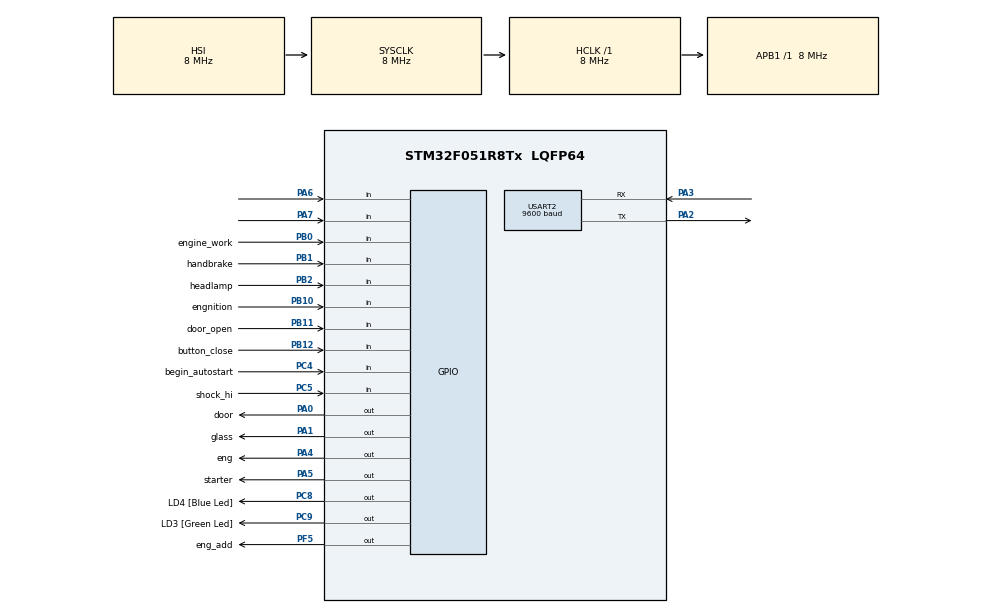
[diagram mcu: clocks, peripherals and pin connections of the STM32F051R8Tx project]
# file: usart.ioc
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FREERTOS.CountingSemaphores01=toTick,4,Dynamic,NULL
FREERTOS.INCLUDE_vTaskDelayUntil=1
FREERTOS.Queues01=toAlarm,4,uint8_t,NULL,Dynamic,NULL,NULL;toMain,1,uint32_t,NULL,Dynamic,NULL,NULL;toSensors,1,uint16_t,NULL,Dynamic,NULL,NULL;toSMS,4,uint16_t,NULL,Dynamic,NULL,NULL
FREERTOS.Tasks01=Main,0,128,Task_Main,Default,NULL,Dynamic,NULL,NULL;Sensors,1,128,Task_Sensors,Default,NULL,Dynamic,NULL,NULL;SMS,2,128,Task_SMS,Default,NULL,Dynamic,NULL,NULL;Admin,-1,128,Task_Admin,Default,NULL,Dynamic,NULL,NULL;pick,-3,128,Task_pick,Default,NULL,Dynamic,NULL,NULL
FREERTOS.configTOTAL_HEAP_SIZE=6000
FREERTOS.configUSE_COUNTING_SEMAPHORES=1
FREERTOS.configUSE_TICKLESS_IDLE=1
Mcu.Family=STM32F0
Mcu.Name=STM32F051R8Tx
Mcu.Package=LQFP64
NVIC.TIM17_IRQn=true\:0\:0\:false\:false\:true\:false\:false
NVIC.TimeBase=TIM17_IRQn
NVIC.TimeBaseIP=TIM17
NVIC.USART2_IRQn=true\:3\:0\:false\:false\:true\:true\:true
PA0.GPIO_Label=door
PA0.GPIO_ModeDefaultOutputPP=GPIO_MODE_OUTPUT_OD
PA0.GPIO_PuPd=GPIO_PULLUP
PA0.Signal=GPIO_Output
PA1.GPIO_Label=glass
PA1.GPIO_ModeDefaultOutputPP=GPIO_MODE_OUTPUT_OD
PA1.GPIO_PuPd=GPIO_PULLUP
PA1.Signal=GPIO_Output
PA13.GPIO_Label=SWDIO
PA13.Signal=SYS_SWDIO
PA14.GPIO_Label=SWCLK
PA14.Signal=SYS_SWCLK
PA2.Mode=Asynchronous
PA2.Signal=USART2_TX
PA3.Mode=Asynchronous
PA3.Signal=USART2_RX
PA4.GPIO_Label=eng
PA4.GPIO_ModeDefaultOutputPP=GPIO_MODE_OUTPUT_OD
PA4.GPIO_PuPd=GPIO_PULLUP
PA4.Signal=GPIO_Output
PA5.GPIO_Label=starter
PA5.GPIO_ModeDefaultOutputPP=GPIO_MODE_OUTPUT_OD
PA5.GPIO_PuPd=GPIO_PULLUP
PA5.Signal=GPIO_Output
PA6.Signal=GPIO_Input
PA7.Signal=GPIO_Input
PB0.GPIO_Label=engine_work
PB0.GPIO_PuPd=GPIO_PULLDOWN
PB0.Signal=GPIO_Input
PB1.GPIO_Label=handbrake
PB1.GPIO_PuPd=GPIO_PULLDOWN
PB1.Signal=GPIO_Input
PB10.GPIO_Label=engnition
PB10.GPIO_PuPd=GPIO_PULLDOWN
PB10.Signal=GPIO_Input
PB11.GPIO_Label=door_open
PB11.GPIO_PuPd=GPIO_PULLDOWN
PB11.Signal=GPIO_Input
PB12.GPIO_Label=button_close
PB12.GPIO_PuPd=GPIO_PULLDOWN
PB12.Signal=GPIO_Input
PB2.GPIO_Label=headlamp
PB2.GPIO_PuPd=GPIO_PULLDOWN
PB2.Signal=GPIO_Input
PC4.GPIO_Label=begin_autostart
PC4.GPIO_PuPd=GPIO_PULLDOWN
PC4.Signal=GPIO_Input
PC5.GPIO_Label=shock_hi
PC5.GPIO_PuPd=GPIO_PULLDOWN
PC5.Signal=GPIO_Input
PC8.GPIO_Label=LD4 [Blue Led]
PC8.GPIO_PuPd=GPIO_NOPULL
PC8.GPIO_Speed=GPIO_SPEED_FREQ_LOW
PC8.Signal=GPIO_Output
PC9.GPIO_Label=LD3 [Green Led]
PC9.GPIO_PuPd=GPIO_NOPULL
PC9.GPIO_Speed=GPIO_SPEED_FREQ_LOW
PC9.PinState=GPIO_PIN_RESET
PC9.Signal=GPIO_Output
PF5.GPIO_Label=eng_add
PF5.GPIO_ModeDefaultOutputPP=GPIO_MODE_OUTPUT_OD
PF5.GPIO_PuPd=GPIO_PULLUP
PF5.Signal=GPIO_Output
ProjectManager.HeapSize=0x200
ProjectManager.StackSize=0x400
ProjectManager.TargetToolchain=MDK-ARM V5
RCC.AHBFreq_Value=8000000
RCC.APB1Freq_Value=8000000
RCC.APB1TimFreq_Value=8000000
RCC.HCLKFreq_Value=8000000
RCC.PLLMUL=RCC_PLL_MUL4
RCC.RCC_MCOSource=RCC_MCO1SOURCE_LSI
RCC.SYSCLKFreq_VALUE=8000000
USART2.BaudRate=9600
USART2.VirtualMode-Asynchronous=VM_ASYNC
VP_FREERTOS_VS_ENABLE.Mode=Enabled
VP_SYS_VS_tim17.Mode=TIM17
board=STM32F0DISCOVERY

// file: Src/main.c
/**
  ******************************************************************************
  * File Name          : main.c
  * Description        : Main program body
  ******************************************************************************
  * This notice applies to any and all portions of this file
  * that are not between comment pairs USER CODE BEGIN and
  * USER CODE END. Other portions of this file, whether
  * inserted by the user or by software development tools
  * are owned by their respective copyright owners.
  *
  * Copyright (c) 2018 STMicroelectronics International N.V.
  * All rights reserved.
  *
  * Redistribution and use in source and binary forms, with or without
  * modification, are permitted, provided that the following conditions are met:
  *
  * 1. Redistribution of source code must retain the above copyright notice,
  *    this list of conditions and the following disclaimer.
  * 2. Redistributions in binary form must reproduce the above copyright notice,
  *    this list of conditions and the following disclaimer in the documentation
  *    and/or other materials provided with the distribution.
  * 3. Neither the name of STMicroelectronics nor the names of other
  *    contributors to this software may be used to endorse or promote products
  *    derived from this software without specific written permission.
  * 4. This software, including modifications and/or derivative works of this
  *    software, must execute solely and exclusively on microcontroller or
  *    microprocessor devices manufactured by or for STMicroelectronics.
  * 5. Redistribution and use of this software other than as permitted under
  *    this license is void and will automatically terminate your rights under
  *    this license.
  *
  * THIS SOFTWARE IS PROVIDED BY STMICROELECTRONICS AND CONTRIBUTORS "AS IS"
  * AND ANY EXPRESS, IMPLIED OR STATUTORY WARRANTIES, INCLUDING, BUT NOT
  * LIMITED TO, THE IMPLIED WARRANTIES OF MERCHANTABILITY, FITNESS FOR A
  * PARTICULAR PURPOSE AND NON-INFRINGEMENT OF THIRD PARTY INTELLECTUAL PROPERTY
  * RIGHTS ARE DISCLAIMED TO THE FULLEST EXTENT PERMITTED BY LAW. IN NO EVENT
  * SHALL STMICROELECTRONICS OR CONTRIBUTORS BE LIABLE FOR ANY DIRECT, INDIRECT,
  * INCIDENTAL, SPECIAL, EXEMPLARY, OR CONSEQUENTIAL DAMAGES (INCLUDING, BUT NOT
  * LIMITED TO, PROCUREMENT OF SUBSTITUTE GOODS OR SERVICES; LOSS OF USE, DATA,
  * OR PROFITS; OR BUSINESS INTERRUPTION) HOWEVER CAUSED AND ON ANY THEORY OF
  * LIABILITY, WHETHER IN CONTRACT, STRICT LIABILITY, OR TORT (INCLUDING
  * NEGLIGENCE OR OTHERWISE) ARISING IN ANY WAY OUT OF THE USE OF THIS SOFTWARE,
  * EVEN IF ADVISED OF THE POSSIBILITY OF SUCH DAMAGE.
  *
  ******************************************************************************
  */

#include "main.h"
#include "stm32f0xx_hal.h"
#include "cmsis_os.h"

/* USER CODE BEGIN Includes */
#include "sms.h"
/* USER CODE END Includes */

UART_HandleTypeDef huart2;

osThreadId MainHandle;
osThreadId SensorsHandle;
osThreadId SMSHandle;
osThreadId AdminHandle;
osThreadId pickHandle;
osMessageQId toAlarmHandle;
osMessageQId toMainHandle;
osMessageQId toSensorsHandle;
osMessageQId toSMSHandle;
osSemaphoreId toTickHandle;

/* USER CODE BEGIN PV */
/* Private variables ---------------------------------------------------------*/

//sms variable
	uint16_t recieveWord;																						//переменная для помещения в очередь смс
	uint8_t RxByte; 																									// буфер для приема
	char admin_number[]="9091286400";
// define command to sensor module
	#define dOutDoorToClose					1
	#define dOutDoorToOpen					2
	#define dOutGlassToClose				3
	#define dOutButtonToClose				4
	#define dOutButtonToOpen				5
	#define dOutEngMainToOn					6
	#define dOutEngMainToOff				7
	#define dOutEngAdditionalToOn		8
	#define dOutEngAdditionalToOff	9
	#define dOutStarterToOn					10
	#define dOutStarterToOff				11
	#define dOutUpdateSensors				12
// define number to sms
	#define dSmsDoorOpen						0x0200
	#define dSmsShockHi							0x0300
	#define dSmsShockLow						0x0400
	#define dSmsEngOn								0x0500
	#define dSmsDoorNotClose				0x0600
	#define dSmsCantStartEngine			0x0700
/* USER CODE END PV */

void SystemClock_Config(void);
static void MX_GPIO_Init(void);
static void MX_USART2_UART_Init(void);
void Task_Main(void const * argument);
void Task_Sensors(void const * argument);
void Task_SMS(void const * argument);
void Task_Admin(void const * argument);
void Task_pick(void const * argument);

/* USER CODE BEGIN PFP */
/* Private function prototypes -----------------------------------------------*/
void HAL_UART_RxCpltCallback(UART_HandleTypeDef *huart);
/* USER CODE END PFP */

int main(void)
{

  /* MCU Configuration----------------------------------------------------------*/

  /* Reset of all peripherals, Initializes the Flash interface and the Systick. */
  HAL_Init();

  /* Configure the system clock */
  SystemClock_Config();

  /* Initialize all configured peripherals */
  MX_GPIO_Init();
  MX_USART2_UART_Init();

  /* Create the semaphores(s) */
  /* definition and creation of toTick */
  osSemaphoreDef(toTick);
  toTickHandle = osSemaphoreCreate(osSemaphore(toTick), 4);

  /* Create the thread(s) */
  /* definition and creation of Main */
  osThreadDef(Main, Task_Main, osPriorityNormal, 0, 128);
  MainHandle = osThreadCreate(osThread(Main), NULL);

  /* definition and creation of Sensors */
  osThreadDef(Sensors, Task_Sensors, osPriorityAboveNormal, 0, 128);
  SensorsHandle = osThreadCreate(osThread(Sensors), NULL);

  /* definition and creation of SMS */
  osThreadDef(SMS, Task_SMS, osPriorityHigh, 0, 128);
  SMSHandle = osThreadCreate(osThread(SMS), NULL);

  /* definition and creation of Admin */
  osThreadDef(Admin, Task_Admin, osPriorityBelowNormal, 0, 128);
  AdminHandle = osThreadCreate(osThread(Admin), NULL);

  /* definition and creation of pick */
  osThreadDef(pick, Task_pick, osPriorityIdle, 0, 128);
  pickHandle = osThreadCreate(osThread(pick), NULL);

  /* Create the queue(s) */
  /* definition and creation of toAlarm */
  osMessageQDef(toAlarm, 4, uint8_t);
  toAlarmHandle = osMessageCreate(osMessageQ(toAlarm), NULL);

  /* definition and creation of toMain */
  osMessageQDef(toMain, 1, uint32_t);
  toMainHandle = osMessageCreate(osMessageQ(toMain), NULL);

  /* definition and creation of toSensors */
  osMessageQDef(toSensors, 1, uint16_t);
  toSensorsHandle = osMessageCreate(osMessageQ(toSensors), NULL);

  /* definition and creation of toSMS */
  osMessageQDef(toSMS, 4, uint16_t);
  toSMSHandle = osMessageCreate(osMessageQ(toSMS), NULL);

  /* Start scheduler */
  osKernelStart();

  /* We should never get here as control is now taken by the scheduler */

  /* Infinite loop */
  while (1)
  {

  }

}

/** System Clock Configuration
*/
void SystemClock_Config(void)
{

  RCC_OscInitTypeDef RCC_OscInitStruct;
  RCC_ClkInitTypeDef RCC_ClkInitStruct;

    /**Initializes the CPU, AHB and APB busses clocks
    */
  RCC_OscInitStruct.OscillatorType = RCC_OSCILLATORTYPE_HSI;
  RCC_OscInitStruct.HSIState = RCC_HSI_ON;
  RCC_OscInitStruct.HSICalibrationValue = 16;
  RCC_OscInitStruct.PLL.PLLState = RCC_PLL_NONE;
  if (HAL_RCC_OscConfig(&RCC_OscInitStruct) != HAL_OK)
  {
    _Error_Handler(__FILE__, __LINE__);
  }

    /**Initializes the CPU, AHB and APB busses clocks
    */
  RCC_ClkInitStruct.ClockType = RCC_CLOCKTYPE_HCLK|RCC_CLOCKTYPE_SYSCLK
                              |RCC_CLOCKTYPE_PCLK1;
  RCC_ClkInitStruct.SYSCLKSource = RCC_SYSCLKSOURCE_HSI;
  RCC_ClkInitStruct.AHBCLKDivider = RCC_SYSCLK_DIV1;
  RCC_ClkInitStruct.APB1CLKDivider = RCC_HCLK_DIV1;

  if (HAL_RCC_ClockConfig(&RCC_ClkInitStruct, FLASH_LATENCY_0) != HAL_OK)
  {
    _Error_Handler(__FILE__, __LINE__);
  }

    /**Configure the Systick interrupt time
    */
  HAL_SYSTICK_Config(HAL_RCC_GetHCLKFreq()/1000);

    /**Configure the Systick
    */
  HAL_SYSTICK_CLKSourceConfig(SYSTICK_CLKSOURCE_HCLK);

  /* SysTick_IRQn interrupt configuration */
  HAL_NVIC_SetPriority(SysTick_IRQn, 3, 0);
}

/* USART2 init function */
static void MX_USART2_UART_Init(void)
{

  huart2.Instance = USART2;
  huart2.Init.BaudRate = 9600;
  huart2.Init.WordLength = UART_WORDLENGTH_8B;
  huart2.Init.StopBits = UART_STOPBITS_1;
  huart2.Init.Parity = UART_PARITY_NONE;
  huart2.Init.Mode = UART_MODE_TX_RX;
  huart2.Init.HwFlowCtl = UART_HWCONTROL_NONE;
  huart2.Init.OverSampling = UART_OVERSAMPLING_16;
  huart2.Init.OneBitSampling = UART_ONE_BIT_SAMPLE_DISABLE;
  huart2.AdvancedInit.AdvFeatureInit = UART_ADVFEATURE_NO_INIT;
  if (HAL_UART_Init(&huart2) != HAL_OK)
  {
    _Error_Handler(__FILE__, __LINE__);
  }

}

/** Configure pins as
        * Analog
        * Input
        * Output
        * EVENT_OUT
        * EXTI
*/
static void MX_GPIO_Init(void)
{

  GPIO_InitTypeDef GPIO_InitStruct;

  /* GPIO Ports Clock Enable */
  __HAL_RCC_GPIOA_CLK_ENABLE();
  __HAL_RCC_GPIOF_CLK_ENABLE();
  __HAL_RCC_GPIOC_CLK_ENABLE();
  __HAL_RCC_GPIOB_CLK_ENABLE();

  /*Configure GPIO pin Output Level */
  HAL_GPIO_WritePin(GPIOA, door_Pin|glass_Pin|eng_Pin|starter_Pin, GPIO_PIN_RESET);

  /*Configure GPIO pin Output Level */
  HAL_GPIO_WritePin(eng_add_GPIO_Port, eng_add_Pin, GPIO_PIN_RESET);

  /*Configure GPIO pin Output Level */
  HAL_GPIO_WritePin(GPIOC, LD4_Pin|LD3_Pin, GPIO_PIN_RESET);

  /*Configure GPIO pins : door_Pin glass_Pin eng_Pin starter_Pin */
  GPIO_InitStruct.Pin = door_Pin|glass_Pin|eng_Pin|starter_Pin;
  GPIO_InitStruct.Mode = GPIO_MODE_OUTPUT_OD;
  GPIO_InitStruct.Pull = GPIO_PULLUP;
  GPIO_InitStruct.Speed = GPIO_SPEED_FREQ_LOW;
  HAL_GPIO_Init(GPIOA, &GPIO_InitStruct);

  /*Configure GPIO pin : eng_add_Pin */
  GPIO_InitStruct.Pin = eng_add_Pin;
  GPIO_InitStruct.Mode = GPIO_MODE_OUTPUT_OD;
  GPIO_InitStruct.Pull = GPIO_PULLUP;
  GPIO_InitStruct.Speed = GPIO_SPEED_FREQ_LOW;
  HAL_GPIO_Init(eng_add_GPIO_Port, &GPIO_InitStruct);

  /*Configure GPIO pins : PA6 PA7 */
  GPIO_InitStruct.Pin = GPIO_PIN_6|GPIO_PIN_7;
  GPIO_InitStruct.Mode = GPIO_MODE_INPUT;
  GPIO_InitStruct.Pull = GPIO_NOPULL;
  HAL_GPIO_Init(GPIOA, &GPIO_InitStruct);

  /*Configure GPIO pins : begin_autostart_Pin shock_hi_Pin */
  GPIO_InitStruct.Pin = begin_autostart_Pin|shock_hi_Pin;
  GPIO_InitStruct.Mode = GPIO_MODE_INPUT;
  GPIO_InitStruct.Pull = GPIO_PULLDOWN;
  HAL_GPIO_Init(GPIOC, &GPIO_InitStruct);

  /*Configure GPIO pins : engine_work_Pin handbrake_Pin headlamp_Pin engnition_Pin
                           door_open_Pin button_close_Pin */
  GPIO_InitStruct.Pin = engine_work_Pin|handbrake_Pin|headlamp_Pin|engnition_Pin
                          |door_open_Pin|button_close_Pin;
  GPIO_InitStruct.Mode = GPIO_MODE_INPUT;
  GPIO_InitStruct.Pull = GPIO_PULLDOWN;
  HAL_GPIO_Init(GPIOB, &GPIO_InitStruct);

  /*Configure GPIO pins : LD4_Pin LD3_Pin */
  GPIO_InitStruct.Pin = LD4_Pin|LD3_Pin;
  GPIO_InitStruct.Mode = GPIO_MODE_OUTPUT_PP;
  GPIO_InitStruct.Pull = GPIO_NOPULL;
  GPIO_InitStruct.Speed = GPIO_SPEED_FREQ_LOW;
  HAL_GPIO_Init(GPIOC, &GPIO_InitStruct);

}

/* USER CODE BEGIN 4 */
void HAL_UART_RxCpltCallback(UART_HandleTypeDef *huart)
{
	recieveWord=RxByte+0x100;
	portBASE_TYPE * pxHigherPriorityTaskWoken;
	xQueueSendFromISR(toSMSHandle, &recieveWord, pxHigherPriorityTaskWoken);
	HAL_UART_Receive_IT(&huart2,&RxByte,1);
};
/* USER CODE END 4 */

/* Task_Main function */
void Task_Main(void const * argument)
{

  /* USER CODE BEGIN 5 */
	uint8_t state =0;
	uint32_t sensors = 1;																							// переменная, полученая из модуля sensors. содержит биты состояний и значение температуры двигателя
	uint32_t sensorsMask = 0xFFFFFFFF;															  // mask for off some sensors

	uint8_t counterOfAlarm=0;																				// счетчик количества срабатываний
	uint8_t counterOfStarts=0;																			// счетчик количества попыток старта двигателя

	uint32_t timerGuardButDoor;																		// время ожидания закрытия двери
	uint32_t timerOpenButDoor;																			// время ожидания открытия двери
	uint32_t timerOfAlarm;																					// время сколько орать
	uint32_t timerOfStartEngine;															// время работы стартера
	uint32_t timerOfStartEngineRest;															// время отдыха после стартера
	uint32_t timerOfEngineWork;

	uint8_t flagAutostartAllowed=0;																	// разрешен ли автозапуск

	//temp
	uint32_t	globalTimerGuardButDoor=60000; //1мин
	uint32_t 	globalTimerOpenButDoor=60000; //1мин
	uint32_t  globalTimerOfAlarm = 120000;
	uint32_t  globalTimerOfEngineWork=300000;
	uint8_t	  globalFlagAutostartAllowed=1;
	uint32_t  globalTimeOfStartEngine=10000;//10sec
	uint32_t	globalTimeOfStartEngineRest=30000;//30sec
	uint8_t	  globalMaxOfTryStart=3;
	uint8_t 	globalCounterOfAlarm=3;
	uint8_t   globalInTemperature=100;

	#define dPick(times)  for (uint8_t i=0; i<times; i++) xSemaphoreGive( toTickHandle) ;
	#define dSendCommand(command) { uint8_t temp=command;  xQueueSend( toSensorsHandle, &temp, portMAX_DELAY) ;};// отправляем команды в задачу  sensors)
	#define dSendSms(command)		{ uint16_t temp=command;  xQueueSend(toSMSHandle,&temp, 1);};

// разложение переменной, полученной из sensors на биты состояний
	#define dIsButtonClose					 	(sensors & 0x80000000)					// старший бит
	#define dIsDoorOpen 							(sensors & 0x40000000)
	#define dIsEngOn									(sensors & 0x20000000)
	#define dIsHeadlightsOn						(sensors & 0x10000000)
	#define dIsFlagAutostartAllowed		(sensors & 0x08000000)
	#define dIsHandbrakeOn						(sensors & 0x04000000)
	#define dIsEngineWork 						(sensors & 0x02000000)
	#define dIsShockHi								(sensors & 0x01000000)
	#define dIsShockLow								(sensors & 0x00800000)
	#define dIsBeginAutostart					(sensors & 0x00400000)
	#define dIsBackdoorOpen						(sensors & 0x00200000)
	#define dInTemperature						(sensors & 0x000000FF)					// 1 байт для значения температуры

	#define dStateOpen 									0
	#define dStateGuard 								1
	#define dStateAlarm 								2
	#define dStateGuardButDoorOpen			3
	#define dStateOpenButDoorClose	 		4
	#define dStateAutostartReady	 			5
	#define dStateAutostartStartEngine	6
	#define dStateAutostartWork 				7

	/* Infinite loop */
  for(;;)
  {

	dSendCommand(dOutUpdateSensors);
	xQueueReceive( toMainHandle, &sensors,portMAX_DELAY);  				  //see queue for update sensors value
	sensors &= sensorsMask; 																					// выключили некоторые сенсоры по маске

	switch (state)
    {
			case dStateOpen	:																																											// состояние open
				sensorsMask=0xFFFFFFFF;																			//если была сработка и поставлена маска не смотреть дверь, от ее здесь надо обнулить
				if ( (dIsButtonClose!=0) & (dIsDoorOpen==0) & (dIsEngOn==0) )																				//  нажали на кнопку закрыть. если кнопк==1, дверь закрыта, зажигания нет,
					{
						if (dIsHeadlightsOn!=0) dPick(3);			 																											// 	пока горят фары пикаем
						dPick(1);
						dSendCommand(dOutDoorToClose);
						dSendCommand(dOutGlassToClose);
						osDelay(300);
						state=dStateGuard;
					};												//	ждем 0,3 сек и прыгаем в состояние guard

				if ( (dIsButtonClose!=0) & (dIsDoorOpen!=0) & (dIsEngOn==0))	//  нажали кнопку закрыть. кнопк==1, дверь ОТКРЫТА, зажигания нет.
					{	if (dIsHeadlightsOn!=0) dPick(3);												//	если фары==1 то (пикаем 3,смс,)
						dSendCommand(dOutGlassToClose);
						osDelay(300);
						timerGuardButDoor = globalTimerGuardButDoor;//2min			//	закрываем окно ждем 0.3 и в состояние Guard?BUtDoor, таймер guardButDoor=2мин
						state=dStateGuardButDoorOpen ;
					};

				if ( (dIsButtonClose!=0) & (dIsEngOn!=0) )									//  кнопк==1, зажигание есть, то ошибка -
					{	dPick(4);
						dSendCommand(dOutButtonToOpen);
					};												//	пикаем 4, состояние не меняем, состояние кнопки изменить на 0 и в sensors module его

				if ( (globalFlagAutostartAllowed!=0) & (dIsHandbrakeOn!=0) & (dIsEngOn!=0))//  если вобще он разрешен, то смотрим  ручник==1, заведен==1, то
					{
						dSendCommand(dOutEngMainToOn);
						dSendCommand(dOutEngAdditionalToOn);
						state=dStateAutostartReady;
					};// включаем зажигание_оут=1 и зажигание_оут_доп=1 и в состояние AutoStartReady

				counterOfAlarm = 0;					//счетчик срабатывания = 0
				break;

    	case dStateGuard:// состояние guard
				if ( dIsButtonClose == 0 ) //  кнопка==0,
					{	dPick(2);
						dSendCommand(dOutDoorToClose);
						osDelay(300);
						timerOpenButDoor = globalTimerOpenButDoor;//1min;//пикаем 2, двери на открытие, ждем 0,3 сек и , таймер openButDoor=Хмин
						state = dStateOpenButDoorClose;
					}; //прыгаем в состояние open_butDoor

				if ( (dIsDoorOpen!=0) | (dIsShockHi!=0) | (dIsEngOn!=0) )
					{
						counterOfAlarm++;
						timerOfAlarm=globalTimerOfAlarm ;
						if (dIsDoorOpen!=0) dSendSms(dSmsDoorOpen);
						if (dIsShockHi!=0)  dSendSms(dSmsShockHi);
						if (dIsEngOn!=0)	  dSendSms(dSmsEngOn);
						// start rec!!!!
						state=dStateAlarm ;
					};//  дверь ОТКРЫТА или зажигание==1 или ударHI==1, то счетчик срабатывания ++, timealarm=время для ора и в состояние Alarm

				if (dIsShockLow!=0)
					{
						dPick(4);//	 ударLOW==1 то пикпикх4
						dSendSms(dSmsShockLow);
					};

				if ( (dIsBeginAutostart!=0) & (flagAutostartAllowed!=0) ) //  begin_autostart==1,смотрим разрешение на автозапуск(ставится из autostartready) ==1
					{
						dSendCommand(dOutEngMainToOn);
						timerOfStartEngine=globalTimeOfStartEngine/*(10sek)*/;
						timerOfStartEngineRest=globalTimeOfStartEngineRest/*(30sek)*/;	//, то зажигание_оут=1, таймер времени завода =10сек, таймер отдыха=30 сек
						counterOfStarts=globalMaxOfTryStart/*3raza*/;
						osDelay(1000);
						state=dStateAutostartStartEngine;//кол-во попыток=3, ждем 1сек, переход в состояние autostart_startengine
					};
				break;

			case dStateAlarm: // alarm. отсылаем каждый раз очередь в задачу alarmtask. пока счетчик не обнулится
				//пусть пищит по одному.пик-пик-пик. при сработке просто пики непрерывные. скорее всего ее вобще отключат чтоб не орал
				if ( (timerOfAlarm>0) & (counterOfAlarm<globalCounterOfAlarm/*3раз*/) )// timeaalarm>0 и счетчик сработки менее порога, то
					{
						dPick(1);
						timerOfAlarm--;
					};	//кинуть в очередь в alarmtask еще одну еденичку для ора, timealarm--

				if (timerOfAlarm==0) // если timealarm ==0; то
					{
						if (dIsDoorOpen!=0) sensorsMask=0xBFDFFFFF;//если сюда пришли от двери( дверь==открыта) то в маску пишем не смотреть дверь
						counterOfAlarm++;
						state=dStateGuard;
					};	// потом увеличиваем счетчик срабатывания++(обычно до трех) и переходим в состояние guard

				if (dIsButtonClose==0) //кнопка==0,то
					{
						timerOpenButDoor=globalTimerOpenButDoor;
						state=dStateOpenButDoorClose;
					}; //таймер openButDoor=30сек, состояние open?butDoors.(при переходе в другое состояние двери не открываются!!!)
					//управление с смс!!!!!!
				break;

			case dStateGuardButDoorOpen:// состояние guard,butDoor

				if (timerGuardButDoor == 0)
					{
						/*SMS(door)*/; dPick(4);
						dSendSms(dSmsDoorNotClose);
						timerGuardButDoor = INT32_MAX; // смс о незакрытой двери, пик 4, таймер=макс для неопределения его ниже.  таймер оттикал положенные минуты, надо предупредить пользователя о незакрытой двери
						sensorsMask=0xBFDFFFFF;
						state=dStateGuard;
					};// выключаем маской двери и в режим охраны

				if (timerGuardButDoor < INT32_MAX) timerGuardButDoor--;    //таймер тикает или нет, одного предупреждения достаточно.

				if ((dIsDoorOpen==0) & (dIsEngOn==0))//  дверь закрыта,зажигания нет,
					{
						dPick(1);
						dSendCommand(dOutDoorToClose);
						osDelay(500);
						state=dStateGuard;
					}; //пикаем разик, двери на закрытие, ждем 0,3 сек и прыгаем в состояние guard
					// дверь наконец- то закрыли. надо смотреть на зажигание, чтоб никто не сидел внутри, или ключ в заведенной машине не оставил
				if (dIsEngOn !=0 ) dPick(1);//  зажигание==1,то пик1. //включили зажигание на подохранной машиной. надо попищать по одному пику пока не выключат зажигание
				break;

			case dStateOpenButDoorClose: // состояние openButDoor. нажали на открытие, но двери не открыли

				if (dIsDoorOpen!=0) state=dStateOpen; //дверь открыта, переходим в состояние open

				timerOpenButDoor--; //тикаем таймером

				if (timerOpenButDoor==0)
					{
						dSendCommand(dOutButtonToClose);
						osDelay(100);
						state=dStateOpen;
					};//таймер дотикал до нуля, пикаем 1, отправить в модуль sensors значение кнопки =1 (виртуальная кнопка закрыто) и переходим в режим открыто- оттуда автоматом упадет в guard

				break;

			case dStateAutostartReady:// состояние autostartready

				if (dIsHandbrakeOn==0)
					{
						dSendCommand(dOutEngMainToOff);
						dSendCommand(dOutEngAdditionalToOff);
						state=dStateOpen;
					}; //если ручник отпустили, то зажигание_оут=0 и зажигание_оут_доп=0, и переходим обратно в open

				if (dIsButtonClose!=0)
					{
						dSendCommand(dOutEngMainToOff);
						dSendCommand(dOutEngAdditionalToOff);// если нажали кнопку закрыть то зажигание_оут=0 и зажигание_оут_доп=0,
						if (dIsDoorOpen) flagAutostartAllowed=0; else flagAutostartAllowed=1;
						state=dStateOpen;
						osDelay(100);
					};//флаг разрешения автозапуска зависит от состояния двери(дверь открыта-нет флага) и прыгаем в open? оттудаавтоматом упадем в guard
				break;

			case dStateAutostartStartEngine:// состояние autostart_startengine

				if (timerOfStartEngine>0)
					{
						dSendCommand(dOutStarterToOn);
						timerOfStartEngine--;
					};			//если таймер_времени_завода >0 то стартер=1, таймер--

				if (timerOfStartEngine==0)
					{
						dSendCommand(dOutStarterToOff);
						timerOfStartEngineRest--;
					};			//если таймер_времени_завода ==0 то стартер=0, таймер отдыха--

				if ( (timerOfStartEngine==0) & (timerOfStartEngineRest==0) )
					{
						counterOfStarts--;
						timerOfStartEngine=globalTimeOfStartEngine /*(10sek)*/;
						timerOfStartEngineRest=globalTimeOfStartEngineRest/*(30sek)*/;
					};				//если оба таймер_времени_завода==0 и таймер отдыха==0 то количество_попыток--,выставляем таймеры как из guarda/ таймер времени завода =10сек, таймер отдыха=30 сек,

				if (counterOfStarts==0)
					{	/*SMS("can't start'");*/
						dSendSms(dSmsCantStartEngine);
						dSendCommand(dOutEngMainToOff);
						//???dSendCommand(dOutEngAdditionalToOff);
						flagAutostartAllowed=0;
						state=dStateGuard;
					};//если кол-во_попыток==0, то отправить_смс"не могу завестись" , зажигание_оут=0, флаг разрешения завода=0(иначе по пределу температуры высадит весь акк) и возвращаемся в guard

				if (dIsButtonClose==0)
					{
						dSendCommand(dOutStarterToOff);
						dSendCommand(dOutEngMainToOff);
						dSendCommand(dOutEngAdditionalToOff) ;
						dPick(2) ;
						dSendCommand(dOutDoorToOpen);
						timerOpenButDoor = globalTimerOpenButDoor;
						state=dStateGuardButDoorOpen ;
					}; // если кнопка=о ,то стартер=0, зажигание_оут=0 и зажигание_оут_доп=0,пикаем 2, двери на открытие, ждем 0,3 сек и прыгаем в состояние open_butDoor, таймер openButDoor=Хмин

				if (dIsEngineWork !=0)
					{
						dSendCommand(dOutStarterToOff);
						dSendCommand(dOutEngAdditionalToOn);
						timerOfEngineWork = globalTimerOfEngineWork ;
						state = dStateAutostartWork;
					};// если завод==1(по тахометру или напр.-обрабатывается в sensors) то стартер=0 , то ждем 5 сек, зажигание_оут_доп =1 , таймер_прогрева=Ч минут и переходим в состояние autostart_work
				break;

			case 7:// autostart_work. завелись и просто греемся
				if (dIsButtonClose==0)
					{	dSendCommand(dOutEngMainToOff); dSendCommand(dOutEngAdditionalToOff); dPick(2); dSendCommand(dOutDoorToOpen); timerOpenButDoor = globalTimerOpenButDoor; state=4;
					};// если кнопка=о или дверь=0 ,то  зажигание_оут=0 и зажигание_оут_доп=0,пикаем 2, двери на открытие, ждем 0,3 сек и прыгаем в состояние open_butDoor, таймер openButDoor=Хмин

				if (timerOfEngineWork>0) timerOfEngineWork-- ;// если таймер_прогрева>0 то таймер_прогрева--,

				if ( (timerOfEngineWork==0) | (dInTemperature>globalInTemperature) )
					{
						dSendCommand(dOutEngMainToOff);
						dSendCommand(dOutEngAdditionalToOff);
						dPick(1);
						state = dStateGuard;
					};// если таймер_прогрева==0 или температура движка дошла до целевой, то зажигание_оут=0 и зажигание_оут_доп=0,пикаем 1, и в состояние guard
				break;
      };// end swich

	if (dIsDoorOpen!=0) flagAutostartAllowed=0; //если открыли дверь из любого режима, то флаг разрешения автозапуска=0

  }

  /* USER CODE END 5 */
}

/* Task_Sensors function */
void Task_Sensors(void const * argument)
{
  /* USER CODE BEGIN Task_Sensors */
	uint32_t sensorsToMain = 0x00000000; // отправка значений ног в задачу main
	uint8_t commands = 0; // команды, полученные из main
	uint8_t phisicalButton=0, prevPhisicalButton=0, logicalButton=0;

  /* Infinite loop */
  for(;;)
  {
		sensorsToMain = 0x00000000;
		phisicalButton=HAL_GPIO_ReadPin( button_close_GPIO_Port, button_close_Pin);  // считываем значение на ноге во временную переменную
		if (prevPhisicalButton^phisicalButton) logicalButton=phisicalButton;// если значение изменилось, то пишем ее значение в логическую
		prevPhisicalButton=phisicalButton;// сохраняем для сравнения
		//if ((commands)&(0x0008)) logicalButton=1;
		//if ((commands)&(0x0010)) logicalButton=0;
		//сюда вставить код для обработки смс
		if (logicalButton) sensorsToMain+=0x80000000;// готов к отправке в main

		if (HAL_GPIO_ReadPin( door_open_GPIO_Port, door_open_Pin)) 							sensorsToMain+=0x40000000;// else sensorsToMain&=0xBFFFFFFF;	//устанавливаем или убираем бит кнопки
		if (HAL_GPIO_ReadPin( engnition_GPIO_Port, engnition_Pin)) 							sensorsToMain+=0x20000000;// else sensorsToMain&=0xDFFFFFFF;	//устанавливаем или убираем бит кнопки
		if (HAL_GPIO_ReadPin( headlamp_GPIO_Port, headlamp_Pin)) 								sensorsToMain+=0x10000000;// else sensorsToMain&=0xEFFFFFFF;	//устанавливаем или убираем бит кнопки
		if (HAL_GPIO_ReadPin( handbrake_GPIO_Port, handbrake_Pin)) 							sensorsToMain+=0x04000000;// else sensorsToMain&=0xFBFFFFFF;	//устанавливаем или убираем бит кнопки
		if (HAL_GPIO_ReadPin( engine_work_GPIO_Port, engine_work_Pin)) 					sensorsToMain+=0x02000000;// else sensorsToMain&=0xFDFFFFFF;	//устанавливаем или убираем бит кнопки
		if (HAL_GPIO_ReadPin( shock_hi_GPIO_Port, shock_hi_Pin)) 								sensorsToMain+=0x01000000;// else sensorsToMain&=0xFEFFFFFF;	//устанавливаем или убираем бит кнопки
		if (HAL_GPIO_ReadPin( begin_autostart_GPIO_Port, begin_autostart_Pin))  sensorsToMain+=0x00400000;// else sensorsToMain&=0xFFBFFFFF;	//устанавливаем или убираем бит кнопки

		xQueueReceive ( toSensorsHandle, &commands,0);
		switch (commands)
    {
		 	case dOutDoorToClose:
    		break;
    	case	dOutDoorToOpen:
    		break;
			case	dOutGlassToClose:
    		break;
			case	dOutButtonToClose:
    		break;
    	case	dOutButtonToOpen:
    		break;
    	case	dOutEngMainToOn:
    		break;
    	case	dOutEngMainToOff:
    		break;
    	case	dOutEngAdditionalToOn:
    		break;
    	case	dOutEngAdditionalToOff:
    		break;
    	case	dOutStarterToOn:
    		break;
    	case	dOutStarterToOff:
    		break;
    	case	dOutUpdateSensors:
				xQueueSend( toMainHandle, &sensorsToMain, portMAX_DELAY );
    		break;
    };

		commands=0;
		osDelay(1);

  }
  /* USER CODE END Task_Sensors */
}

/* Task_SMS function */
void Task_SMS(void const * argument)
{
  /* USER CODE BEGIN Task_SMS */
	uint16_t delay_read_sms=2000;																			// проверяем смс каждые ... мсек
	osDelay(2000);
	HAL_UART_Receive_IT(&huart2,&RxByte,1);
  Neoway_init();
  /* Infinite loop */
  for(;;)
  {
		if (delay_read_sms--==0) {	Read_SMS();	delay_read_sms=2000;	};
		MonitoringRing();
		osDelay(1);
  }
  /* USER CODE END Task_SMS */
}

/* Task_Admin function */
void Task_Admin(void const * argument)
{
  for(;;)
  {
    osDelay(1);
  }
}

/* Task_pick function */
void Task_pick(void const * argument)
{
  /* USER CODE BEGIN Task_pick */
  /* Infinite loop */
  for(;;)
  {
		xSemaphoreTake( toTickHandle, portMAX_DELAY);
		HAL_GPIO_WritePin( LD3_GPIO_Port, LD3_Pin, GPIO_PIN_SET);
		osDelay(500);
		HAL_GPIO_WritePin( LD3_GPIO_Port, LD3_Pin, GPIO_PIN_RESET);
		osDelay(500);
  }
  /* USER CODE END Task_pick */
}

void HAL_TIM_PeriodElapsedCallback(TIM_HandleTypeDef *htim)
{
  if (htim->Instance == TIM17) {
    HAL_IncTick();
  }
}

void _Error_Handler(char * file, int line)
{
  while(1)
  {
  }
}

/************************ (C) COPYRIGHT STMicroelectronics *****END OF FILE****/
